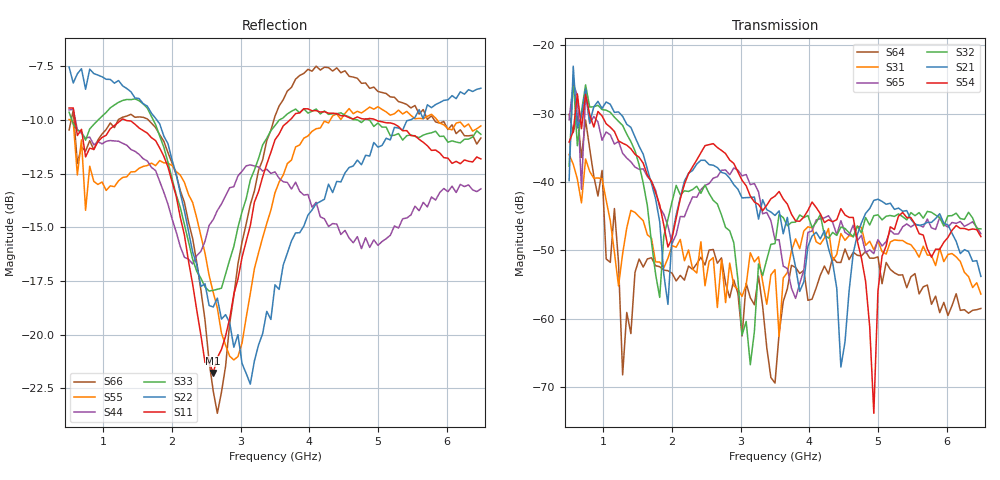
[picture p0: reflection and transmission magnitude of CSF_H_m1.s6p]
!Keysight Technologies,M9804A,MY58100912,A.14.10.03
!Date: Thursday, April 27, 2023 10:28:33
!Correction: S11(C  6-Port  )
!S12(C  6-Port  )
!S13(C  6-Port  )
!S14(C  6-Port  )
!S15(C  6-Port  )
!S16(C  6-Port  )
!S21(C  6-Port  )
!S22(C  6-Port  )
!S23(C  6-Port  )
!S24(C  6-Port  )
!S25(C  6-Port  )
!S26(C  6-Port  )
!S31(C  6-Port  )
!S32(C  6-Port  )
!S33(C  6-Port  )
!S34(C  6-Port  )
!S35(C  6-Port  )
!S36(C  6-Port  )
!S41(C  6-Port  )
!S42(C  6-Port  )
!S43(C  6-Port  )
!S44(C  6-Port  )
!S45(C  6-Port  )
!S46(C  6-Port  )
!S51(C  6-Port  )
!S52(C  6-Port  )
!S53(C  6-Port  )
!S54(C  6-Port  )
!S55(C  6-Port  )
!S56(C  6-Port  )
!S61(C  6-Port  )
!S62(C  6-Port  )
!S63(C  6-Port  )
!S64(C  6-Port  )
!S65(C  6-Port  )
!S66(C  6-Port  )
!S6P File: Measurement: :
# Hz S  RI  R 50
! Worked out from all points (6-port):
!   101 points, 500 MHz to 6.5 GHz, reference 50 ohm
!   strongest paths, dB at 500 MHz, 2 GHz, 3.5 GHz, 5 GHz, 6.5 GHz:
!     S54: -34.1, -48.2, -42.1, -55.9, -48.0
!     S21: -39.8, -47.9, -44.9, -42.5, -53.8
!     S32: -37.7, -42.9, -49.0, -44.8, -46.8
!     S65: -30.9, -49.0, -48.4, -48.4, -47.6
!     S31: -36.0, -49.3, -52.8, -48.6, -56.4
!     S64: -30.1, -53.3, -69.4, -50.9, -58.5
!   lowest |S11| = -21.8 dB at 2.6 GHz (marker M1), VSWR 1.18, Z = 42.7 + j1.9 ohm
!   |S11| at or under -10 dB: 586 MHz to 1.262 GHz (676 MHz wide, 73.2 % of centre); 1.315 GHz to 3.719 GHz (2.403 GHz wide, 95.5 % of centre); 4.966 GHz to end of sweep
